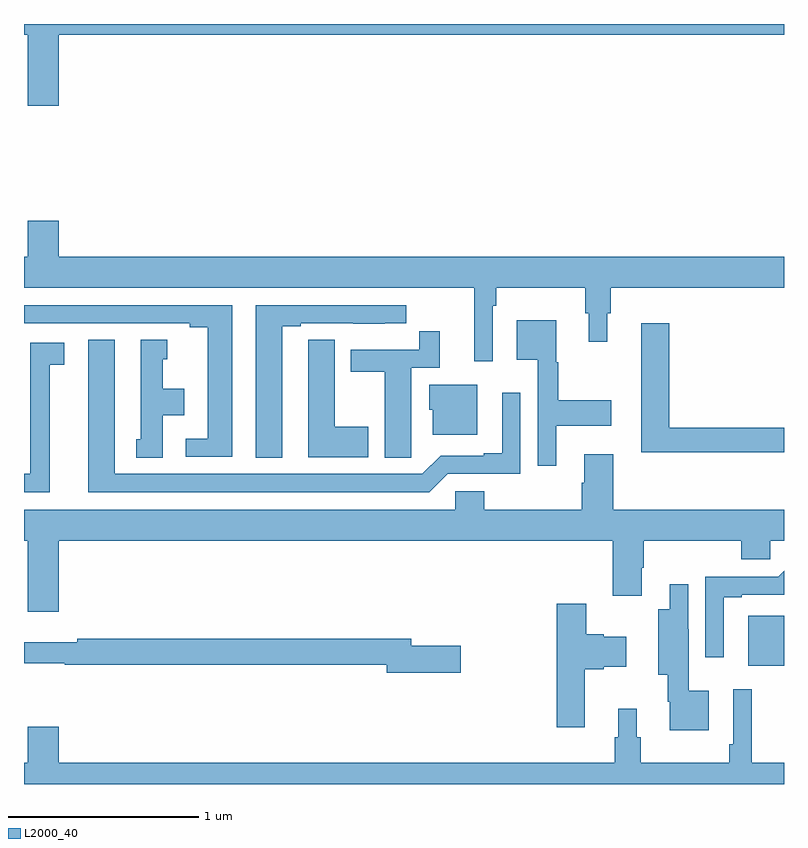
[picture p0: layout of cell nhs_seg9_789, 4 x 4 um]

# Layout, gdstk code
import gdstk
lib = gdstk.Library(unit=1e-6, precision=1e-09)
def R(c, l, rs):  # rectangles x0, y0, x1, y1
    for r in rs: c.add(gdstk.rectangle(r[:2], r[2:], *l))
def P(c, l, *ps):  # polygons
    for p in ps: c.add(gdstk.Polygon(p, *l))
L2000_40 = (2000, 40)

nhs_seg9_789 = lib.new_cell('nhs_seg9_789')
R(nhs_seg9_789, L2000_40, [(156.812,1169.123,157,1169.386)])
P(nhs_seg9_789, L2000_40, [(153,1172.444),(153.02,1172.444),(153.02,1172.07),(153.184,1172.07),(153.184,1172.444),(157,1172.444),(157,1172.5),(153,1172.5)],
  [(155.466,1171.016),(155.486,1171.016),(155.486,1171.112),(155.953,1171.112),(155.953,1170.978),(155.972,1170.978),(155.972,1170.828),(156.07,1170.828),(156.07,1170.978),(156.089,1170.978),(156.089,1171.112),(157,1171.112),(157,1171.276),(153.184,1171.276),(153.184,1171.465),(153.02,1171.465),(153.02,1171.276),(153,1171.276),(153,1171.112),(155.369,1171.112),(155.369,1170.726),(155.466,1170.726)],
  [(154.36,1170.909),(154.456,1170.909),(154.456,1170.924),(154.732,1170.924),(154.732,1170.923),(154.898,1170.923),(154.898,1170.924),(155.011,1170.924),(155.011,1171.02),(154.22,1171.02),(154.22,1170.217),(154.36,1170.217)],
  [(154.096,1171.02),(153,1171.02),(153,1170.924),(153.872,1170.924),(153.872,1170.904),(153.968,1170.904),(153.968,1170.318),(153.852,1170.318),(153.852,1170.222),(154.096,1170.222)],
  [(155.8,1170.386),(156.091,1170.386),(156.091,1170.521),(155.812,1170.521),(155.812,1170.72),(155.8,1170.72),(155.8,1170.94),(155.594,1170.94),(155.594,1170.734),(155.703,1170.734),(155.703,1170.174),(155.8,1170.174)],
  [(157,1170.374),(156.395,1170.374),(156.395,1170.925),(156.248,1170.925),(156.248,1170.246),(157,1170.246)],
  [(155.037,1170.328),(155.038,1170.328),(155.038,1170.69),(155.189,1170.69),(155.189,1170.883),(155.08,1170.883),(155.08,1170.786),(154.721,1170.786),(154.721,1170.67),(154.898,1170.67),(154.898,1170.217),(155.037,1170.217)],
  [(154.813,1170.381),(154.636,1170.381),(154.636,1170.839),(154.497,1170.839),(154.497,1170.731),(154.496,1170.731),(154.496,1170.221),(154.813,1170.221)],
  [(153.73,1170.44),(153.844,1170.44),(153.844,1170.58),(153.73,1170.58),(153.73,1170.735),(153.754,1170.735),(153.754,1170.838),(153.614,1170.838),(153.614,1170.315),(153.59,1170.315),(153.59,1170.217),(153.73,1170.217)],
  [(155.229,1170.132),(155.613,1170.132),(155.613,1170.559),(155.516,1170.559),(155.516,1170.241),(155.42,1170.241),(155.42,1170.228),(155.193,1170.228),(155.097,1170.132),(153.478,1170.132),(153.478,1170.838),(153.338,1170.838),(153.338,1170.036),(155.133,1170.036)],
  [(153.136,1170.706),(153.211,1170.706),(153.211,1170.822),(153.032,1170.822),(153.032,1170.132),(153,1170.132),(153,1170.036),(153.136,1170.036)],
  [(155.386,1170.601),(155.132,1170.601),(155.132,1170.471),(155.15,1170.471),(155.15,1170.338),(155.386,1170.338)],
  [(153.184,1169.78),(156.098,1169.78),(156.098,1169.49),(156.25,1169.49),(156.25,1169.638),(156.263,1169.638),(156.263,1169.78),(156.776,1169.78),(156.776,1169.682),(156.927,1169.682),(156.927,1169.78),(157,1169.78),(157,1169.944),(156.101,1169.944),(156.101,1170.235),(155.948,1170.235),(155.948,1170.086),(155.936,1170.086),(155.936,1169.944),(155.423,1169.944),(155.423,1170.042),(155.271,1170.042),(155.271,1169.944),(153,1169.944),(153,1169.78),(153.02,1169.78),(153.02,1169.406),(153.184,1169.406)],
  [(156.682,1169.484),(156.778,1169.484),(156.778,1169.496),(157,1169.496),(157,1169.623),(156.969,1169.592),(156.585,1169.592),(156.585,1169.166),(156.682,1169.166)],
  [(156.604,1168.99),(156.498,1168.99),(156.498,1169.315),(156.496,1169.315),(156.496,1169.551),(156.398,1169.551),(156.398,1169.419),(156.338,1169.419),(156.338,1169.075),(156.387,1169.075),(156.387,1168.934),(156.399,1168.934),(156.399,1168.784),(156.604,1168.784)],
  [(155.95,1169.105),(156.051,1169.105),(156.051,1169.117),(156.169,1169.117),(156.169,1169.275),(156.051,1169.275),(156.051,1169.288),(155.958,1169.288),(155.958,1169.449),(155.804,1169.449),(155.804,1168.8),(155.95,1168.8)],
  [(155.299,1169.228),(155.038,1169.228),(155.038,1169.264),(153.28,1169.264),(153.28,1169.245),(153,1169.245),(153,1169.136),(153.214,1169.136),(153.214,1169.128),(154.91,1169.128),(154.91,1169.086),(155.299,1169.086)],
  [(157,1168.612),(156.83,1168.612),(156.83,1168.999),(156.732,1168.999),(156.732,1168.708),(156.712,1168.708),(156.712,1168.612),(156.245,1168.612),(156.245,1168.746),(156.226,1168.746),(156.226,1168.897),(156.128,1168.897),(156.128,1168.746),(156.109,1168.746),(156.109,1168.612),(153.184,1168.612),(153.184,1168.801),(153.02,1168.801),(153.02,1168.612),(153,1168.612),(153,1168.5),(157,1168.5)])

lib.write_gds('nhs_seg9_789.gds')
